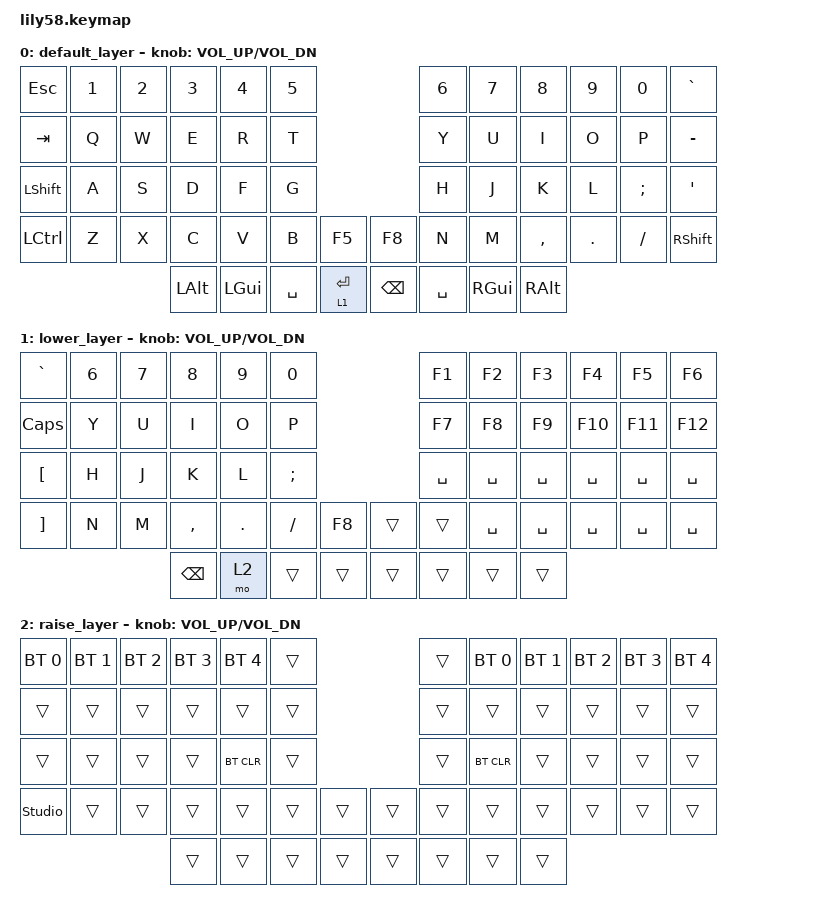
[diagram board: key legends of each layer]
/*
 * Copyright (c) 2020 The ZMK Contributors
 *
 * SPDX-License-Identifier: MIT
 */

#include <behaviors.dtsi>
#include <dt-bindings/zmk/bt.h>
#include <dt-bindings/zmk/keys.h>

/ {
    keymap {
        compatible = "zmk,keymap";

        default_layer {
            // ------------------------------------------------------------------------------------------------------------
            // |  ESC  |  1  |  2  |  3   |  4   |  5   |                   |  6   |  7    |  8    |  9   |   0   |   `   |
            // |  TAB  |  Q  |  W  |  E   |  R   |  T   |                   |  Y   |  U    |  I    |  O   |   P   |   -   |
            // |  CTRL |  A  |  S  |  D   |  F   |  G   |                   |  H   |  J    |  K    |  L   |   ;   |   '   |
            // | SHIFT |  Z  |  X  |  C   |  V   |  B   |   "["  |  |  "]"  |  N   |  M    |  ,    |  .   |   /   | SHIFT |
            //                     | ALT  | GUI  | LOWER|  SPACE |  | ENTER | RAISE| BSPC  | GUI   |

            bindings = <
&kp ESC         &kp N1  &kp N2  &kp N3    &kp N4    &kp N5                                   &kp N6     &kp N7    &kp N8     &kp N9   &kp N0    &kp GRAVE
&kp TAB         &kp Q   &kp W   &kp E     &kp R     &kp T                                    &kp Y      &kp U     &kp I      &kp O    &kp P     &kp MINUS
&kp LEFT_SHIFT  &kp A   &kp S   &kp D     &kp F     &kp G                                    &kp H      &kp J     &kp K      &kp L    &kp SEMI  &kp SQT
&kp LCTRL       &kp Z   &kp X   &kp C     &kp V     &kp B      &kp F5         &kp F8         &kp N      &kp M     &kp COMMA  &kp DOT  &kp FSLH  &kp RSHFT
                                &kp LALT  &kp LGUI  &kp SPACE  &lt 1 ENTER    &kp BACKSPACE  &kp SPACE  &kp RGUI  &kp RALT
            >;

            sensor-bindings = <&inc_dec_kp C_VOL_UP C_VOL_DN>;
        };

        lower_layer {
            // --------------------------------------------------------------------------------------------------------------
            // | LPAD  | BRDn | BRUp |  MUT |  Vo- |  Vo+ |                   |      |       |       |      |       |       |
            // |  F1   |  F2  |  F3  |  F4  |  F5  |  F6  |                   |  F7  |  F8   |  F9   |  F10 |  F11  |  F12  |
            // |   `   |  !   |  @   |  #   |  $   |  %   |                   |  ^   |  &    |  *    |  (   |   )   |   ~   |
            // |       |      |      |      |      |      |        |  |       |      |  _    |  +    |  {   |   }   |  "|"  |
            //                       |      |      |      |        |  |       |      |       |       |

            bindings = <
&kp GRAVE  &kp N6  &kp N7  &kp N8     &kp N9   &kp N0                      &kp F1     &kp F2     &kp F3     &kp F4     &kp F5     &kp F6
&kp CAPS   &kp Y   &kp U   &kp I      &kp O    &kp P                       &kp F7     &kp F8     &kp F9     &kp F10    &kp F11    &kp F12
&kp LBKT   &kp H   &kp J   &kp K      &kp L    &kp SEMI                    &kp SPACE  &kp SPACE  &kp SPACE  &kp SPACE  &kp SPACE  &kp SPACE
&kp RBKT   &kp N   &kp M   &kp COMMA  &kp DOT  &kp FSLH  &kp F8    &trans  &trans     &kp SPACE  &kp SPACE  &kp SPACE  &kp SPACE  &kp SPACE
                           &kp BSPC   &mo 2    &trans    &trans    &trans  &trans     &trans     &trans
            >;

            sensor-bindings = <&inc_dec_kp C_VOL_UP C_VOL_DN>;
        };

        raise_layer {
            // ------------------------------------------------------------------------------------------------------------
            // |       |     |     |      |      |      |                   |      |       |       |      |       |       |
            // |   `   |  1  |  2  |  3   |  4   |  5   |                   |  6   |   7   |   8   |  9   |   0   |       |
            // |   F1  |  F2 |  F3 |  F4  |  F5  |  F6  |                   |      |   <-  |   v   |  ^   |  ->   |       |
            // |   F7  |  F8 |  F9 |  F10 |  F11 |  F12 |        |  |       |  +   |   -   |   =   |  [   |   ]   |   \   |
            //                     |      |      |      |        |  |       |      |       |       |

            bindings = <
&bt BT_SEL 0    &bt BT_SEL 1  &bt BT_SEL 2  &bt BT_SEL 3  &bt BT_SEL 4  &trans                    &trans  &bt BT_SEL 0  &bt BT_SEL 1  &bt BT_SEL 2  &bt BT_SEL 3  &bt BT_SEL 4
&trans          &trans        &trans        &trans        &trans        &trans                    &trans  &trans        &trans        &trans        &trans        &trans
&trans          &trans        &trans        &trans        &bt BT_CLR    &trans                    &trans  &bt BT_CLR    &trans        &trans        &trans        &trans
&studio_unlock  &trans        &trans        &trans        &trans        &trans  &trans    &trans  &trans  &trans        &trans        &trans        &trans        &trans
                                            &trans        &trans        &trans  &trans    &trans  &trans  &trans        &trans
            >;

            sensor-bindings = <&inc_dec_kp C_VOL_UP C_VOL_DN>;
        };
    };
};
